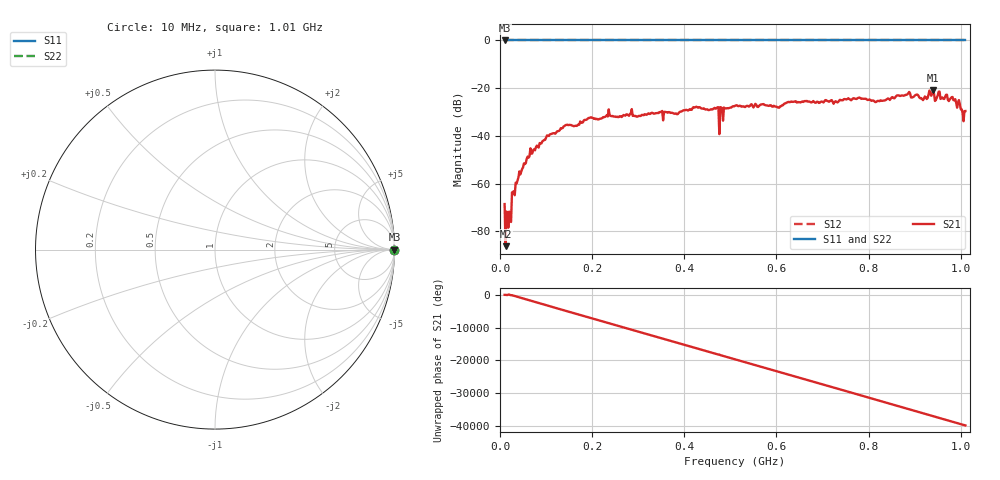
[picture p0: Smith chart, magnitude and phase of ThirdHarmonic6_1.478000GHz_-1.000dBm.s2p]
! 8/16/2025 5:15:57 PM
! C:\ANRITSUVNA\TEMP\TEMP.S2P
! CHANNEL.1
! TR.MEASUREMENT
! RAW.DATA
! RF.CORRECTION.OFF
! AVERAGING.OFF
! IF.BANDWIDTH: 5KHZ
! SWEEPTYPE:  FREQ.SWEEP(Linear)
! Reference Plane Port Info
! PORT:  PORT1  PORT2
! DISTANCE:  0  m  0  m
! TIME:  0  s  0  s
! PHASE.OFFSET:  0  deg.  0  deg.
! LOSS:  0  dB  0  dB
! REF.LOSS:  0  dB  0  dB
! REF.FREQ:  0  Hz  0  Hz
! Power Info
! POWER:  -20  dBm  -20  dBm
! EFF.POWER:  -20  dBm  -20  dBm
! SOURCE.ATTEN:  0  dB  0  dB
! TEST.ATTEN:  0  dB  0  dB
# GHZ S RI R 50.0
! FREQ.GHZ  S11RE  S11IM  S21RE  S21IM  S12RE  S12IM  S22RE  S22IM
!; PortSelection: Port_12
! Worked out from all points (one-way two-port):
!   501 points, 10 MHz to 1.01 GHz, reference 50 ohm
!   highest |S21| = -20.74 dB at 940 MHz (marker M1); lowest = -86.2 dB at 12 MHz (marker M2)
!   lowest |S11| = 0.0 dB at 10 MHz (marker M3)
!   |S11| at or under -10 dB: nowhere
!   |S22| runs from 0.0 to 0.0 dB; largest |S21 - S12| = 1.1
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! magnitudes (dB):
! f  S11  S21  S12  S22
! 10 MHz  0.0  -68.6  0.0  0.0
! 12 MHz  0.0  -86.2  0.0  0.0
! 20 MHz  0.0  -71.7  0.0  0.0
! 30 MHz  0.0  -63.2  0.0  0.0
! 38 MHz  0.0  -58.7  0.0  0.0
! 70 MHz  0.0  -47.4  0.0  0.0
! 106 MHz  0.0  -40.0  0.0  0.0
! 178 MHz  0.0  -34.5  0.0  0.0
! 234 MHz  0.0  -31.9  0.0  0.0
! 344 MHz  0.0  -30.4  0.0  0.0
! 470 MHz  0.0  -28.3  0.0  0.0
! 472 MHz  0.0  -28.0  0.0  0.0
! 480 MHz  0.0  -28.1  0.0  0.0
! 482 MHz  0.0  -28.4  0.0  0.0
! 510 MHz  0.0  -27.4  0.0  0.0
! 678 MHz  0.0  -25.8  0.0  0.0
! 844 MHz  0.0  -24.5  0.0  0.0
! 886 MHz  0.0  -22.2  0.0  0.0
! 916 MHz  0.0  -24.6  0.0  0.0
! 940 MHz  0.0  -20.7  0.0  0.0
! 984 MHz  0.0  -25.0  0.0  0.0
! 1.01 GHz  0.0  -29.6  0.0  0.0
